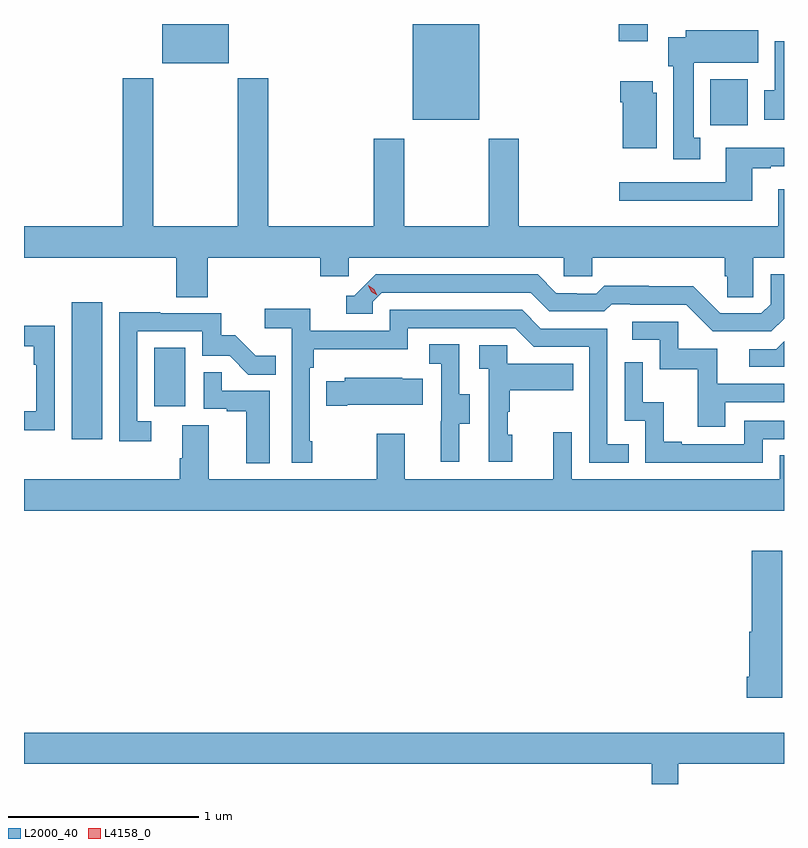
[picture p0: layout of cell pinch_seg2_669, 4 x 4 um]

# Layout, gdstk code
import gdstk
lib = gdstk.Library(unit=1e-6, precision=1e-09)
def R(c, l, rs):  # rectangles x0, y0, x1, y1
    for r in rs: c.add(gdstk.rectangle(r[:2], r[2:], *l))
def P(c, l, *ps):  # polygons
    for p in ps: c.add(gdstk.Polygon(p, *l))
L2000_40 = (2000, 40)
L4158_0 = (4158, 0)

pinch_seg2_669 = lib.new_cell('pinch_seg2_669')
R(pinch_seg2_669, L2000_40, [(1128.143,601.392,1128.304,602.113), (1128.578,601.566,1128.742,601.873), (1131.506,603.044,1131.703,603.286), (1129.94,603.074,1130.29,603.577), (1128.62,603.371,1128.97,603.577), (1131.023,603.486,1131.175,603.577)])
P(pinch_seg2_669, L2000_40, [(1131.451,602.978),(1131.418,602.978),(1131.418,603.374),(1131.757,603.374),(1131.757,603.544),(1131.377,603.544),(1131.377,603.508),(1131.284,603.508),(1131.284,603.354),(1131.311,603.354),(1131.311,602.865),(1131.451,602.865)],
  [(1131.893,603.486),(1131.845,603.486),(1131.845,603.228),(1131.788,603.228),(1131.788,603.072),(1131.893,603.072)],
  [(1128.86,602.348),(1129.451,602.348),(1129.451,602.25),(1129.602,602.25),(1129.602,602.348),(1130.733,602.348),(1130.733,602.25),(1130.883,602.25),(1130.883,602.348),(1131.581,602.348),(1131.581,602.25),(1131.595,602.25),(1131.595,602.14),(1131.732,602.14),(1131.732,602.348),(1131.893,602.348),(1131.893,602.707),(1131.863,602.707),(1131.863,602.512),(1130.498,602.512),(1130.498,602.974),(1130.338,602.974),(1130.338,602.512),(1129.893,602.512),(1129.893,602.974),(1129.733,602.974),(1129.733,602.512),(1129.178,602.512),(1129.178,603.292),(1129.018,603.292),(1129.018,602.512),(1128.573,602.512),(1128.573,603.292),(1128.413,603.292),(1128.413,602.512),(1127.893,602.512),(1127.893,602.348),(1128.695,602.348),(1128.695,602.14),(1128.86,602.14)],
  [(1131.223,603.216),(1131.202,603.216),(1131.202,603.277),(1131.032,603.277),(1131.032,603.164),(1131.044,603.164),(1131.044,602.924),(1131.223,602.924)],
  [(1131.727,602.817),(1131.823,602.817),(1131.823,602.829),(1131.893,602.829),(1131.893,602.926),(1131.587,602.926),(1131.587,602.745),(1131.027,602.745),(1131.027,602.648),(1131.727,602.648)],
  [(1131.893,602.027),(1131.893,602.259),(1131.822,602.259),(1131.822,602.103),(1131.774,602.055),(1131.558,602.055),(1131.416,602.197),(1131.18,602.197),(1131.18,602.2),(1130.947,602.2),(1130.905,602.157),(1130.802,602.157),(1130.802,602.16),(1130.695,602.16),(1130.596,602.259),(1129.743,602.259),(1129.632,602.148),(1129.589,602.148),(1129.589,602.052),(1129.728,602.052),(1129.728,602.115),(1129.776,602.163),(1130.559,602.163),(1130.658,602.064),(1130.947,602.064),(1130.986,602.103),(1131.085,602.103),(1131.085,602.1),(1131.378,602.1),(1131.519,601.959),(1131.825,601.959)],
  [(1129.411,601.381),(1129.398,601.381),(1129.398,601.769),(1129.418,601.769),(1129.418,601.865),(1129.914,601.865),(1129.914,601.977),(1130.478,601.977),(1130.577,601.878),(1130.868,601.878),(1130.868,601.269),(1131.077,601.269),(1131.077,601.365),(1130.964,601.365),(1130.964,601.974),(1130.614,601.974),(1130.515,602.073),(1129.818,602.073),(1129.818,601.962),(1129.4,601.962),(1129.4,602.078),(1129.161,602.078),(1129.161,601.976),(1129.302,601.976),(1129.302,601.269),(1129.411,601.269)],
  [(1128.562,601.485),(1128.489,601.485),(1128.489,601.959),(1128.831,601.959),(1128.831,601.83),(1128.976,601.83),(1129.074,601.732),(1129.217,601.732),(1129.217,601.831),(1129.113,601.831),(1129.006,601.938),(1128.93,601.938),(1128.93,602.055),(1128.611,602.055),(1128.611,602.06),(1128.393,602.06),(1128.393,601.38),(1128.562,601.38)],
  [(1131.583,601.587),(1131.893,601.587),(1131.893,601.683),(1131.541,601.683),(1131.541,601.869),(1131.336,601.869),(1131.336,602.01),(1131.093,602.01),(1131.093,601.914),(1131.24,601.914),(1131.24,601.761),(1131.439,601.761),(1131.439,601.458),(1131.583,601.458)],
  [(1128.054,601.99),(1127.893,601.99),(1127.893,601.88),(1127.945,601.88),(1127.945,601.784),(1127.958,601.784),(1127.958,601.539),(1127.893,601.539),(1127.893,601.438),(1128.054,601.438)],
  [(1131.893,601.907),(1131.852,601.866),(1131.711,601.866),(1131.711,601.773),(1131.893,601.773)],
  [(1130.185,601.474),(1130.239,601.474),(1130.239,601.629),(1130.184,601.629),(1130.184,601.892),(1130.025,601.892),(1130.025,601.789),(1130.088,601.789),(1130.088,601.485),(1130.087,601.485),(1130.087,601.272),(1130.185,601.272)],
  [(1130.464,601.416),(1130.439,601.416),(1130.439,601.535),(1130.449,601.535),(1130.449,601.649),(1130.783,601.649),(1130.783,601.789),(1130.436,601.789),(1130.436,601.887),(1130.289,601.887),(1130.289,601.763),(1130.34,601.763),(1130.34,601.272),(1130.464,601.272)],
  [(1131.78,601.392),(1131.893,601.392),(1131.893,601.488),(1131.684,601.488),(1131.684,601.365),(1131.355,601.365),(1131.355,601.378),(1131.26,601.378),(1131.26,601.586),(1131.15,601.586),(1131.15,601.798),(1131.054,601.798),(1131.054,601.488),(1131.162,601.488),(1131.162,601.269),(1131.78,601.269)],
  [(1129.186,601.647),(1128.935,601.647),(1128.935,601.745),(1128.84,601.745),(1128.84,601.551),(1128.961,601.551),(1128.961,601.539),(1129.064,601.539),(1129.064,601.265),(1129.186,601.265)],
  [(1129.594,601.574),(1129.991,601.574),(1129.991,601.711),(1129.883,601.711),(1129.883,601.714),(1129.581,601.714),(1129.581,601.696),(1129.483,601.696),(1129.483,601.567),(1129.594,601.567)],
  [(1131.893,601.307),(1131.87,601.307),(1131.87,601.18),(1130.775,601.18),(1130.775,601.429),(1130.678,601.429),(1130.678,601.18),(1129.897,601.18),(1129.897,601.42),(1129.75,601.42),(1129.75,601.18),(1128.865,601.18),(1128.865,601.466),(1128.725,601.466),(1128.725,601.292),(1128.713,601.292),(1128.713,601.18),(1127.893,601.18),(1127.893,601.016),(1131.893,601.016)],
  [(1131.883,600.805),(1131.722,600.805),(1131.722,600.378),(1131.71,600.378),(1131.71,600.142),(1131.698,600.142),(1131.698,600.03),(1131.883,600.03)],
  [(1131.337,599.684),(1131.893,599.684),(1131.893,599.848),(1127.893,599.848),(1127.893,599.684),(1131.197,599.684),(1131.197,599.577),(1131.337,599.577)])
P(pinch_seg2_669, L4158_0, [(1129.752,602.15),(1129.721,602.168),(1129.705,602.201),(1129.705,602.201),(1129.705,602.201),(1129.736,602.182),(1129.753,602.15),(1129.753,602.15)])

lib.write_gds('pinch_seg2_669.gds')
